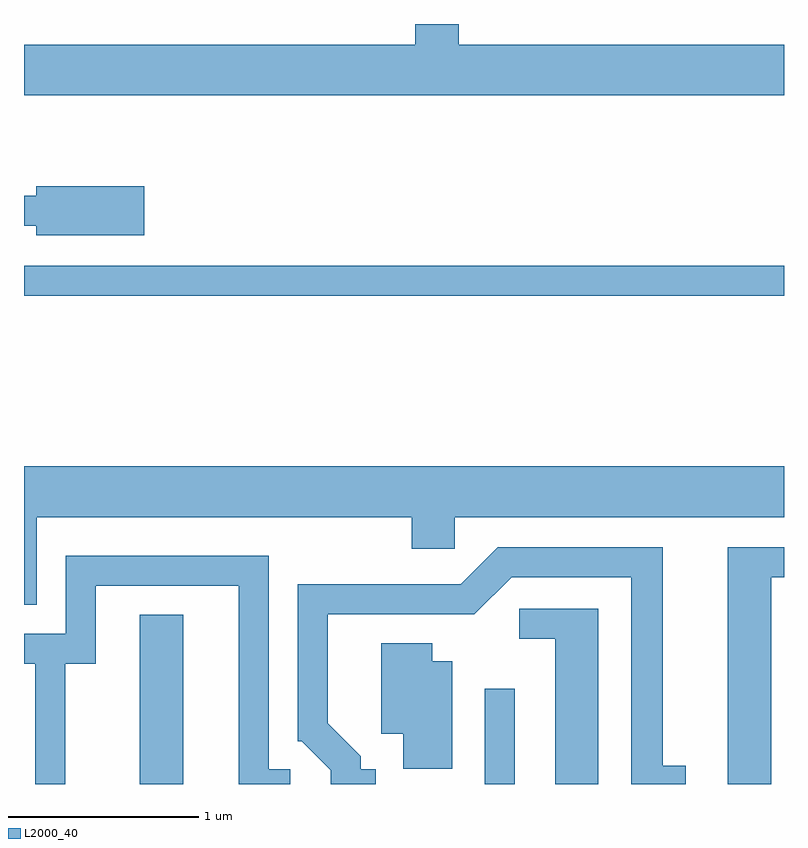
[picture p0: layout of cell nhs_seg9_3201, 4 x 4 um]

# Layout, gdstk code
import gdstk
lib = gdstk.Library(unit=1e-6, precision=1e-09)
def R(c, l, rs):  # rectangles x0, y0, x1, y1
    for r in rs: c.add(gdstk.rectangle(r[:2], r[2:], *l))
def P(c, l, *ps):  # polygons
    for p in ps: c.add(gdstk.Polygon(p, *l))
L2000_40 = (2000, 40)

nhs_seg9_3201 = lib.new_cell('nhs_seg9_3201')
R(nhs_seg9_3201, L2000_40, [(280.221,1970.432,280.449,1971.324), (282.036,1970.432,282.194,1970.933), (279.611,1973.001,283.611,1973.159)])
P(nhs_seg9_3201, L2000_40, [(283.611,1974.324),(281.899,1974.324),(281.899,1974.432),(281.671,1974.432),(281.671,1974.324),(279.611,1974.324),(279.611,1974.056),(283.611,1974.056)],
  [(280.244,1973.579),(279.676,1973.579),(279.676,1973.529),(279.611,1973.529),(279.611,1973.371),(279.676,1973.371),(279.676,1973.321),(280.244,1973.321)],
  [(279.679,1971.836),(281.651,1971.836),(281.651,1971.671),(281.879,1971.671),(281.879,1971.836),(283.611,1971.836),(283.611,1972.104),(279.611,1972.104),(279.611,1971.376),(279.679,1971.376)],
  [(283.544,1971.521),(283.611,1971.521),(283.611,1971.679),(283.316,1971.679),(283.316,1970.432),(283.544,1970.432)],
  [(281.463,1970.509),(281.384,1970.509),(281.384,1970.577),(281.209,1970.752),(281.209,1971.326),(281.982,1971.326),(282.177,1971.521),(282.806,1971.521),(282.806,1970.432),(283.093,1970.432),(283.093,1970.529),(282.974,1970.529),(282.974,1971.679),(282.104,1971.679),(281.909,1971.484),(281.051,1971.484),(281.051,1970.656),(281.074,1970.656),(281.226,1970.504),(281.226,1970.432),(281.463,1970.432)],
  [(279.829,1971.066),(279.989,1971.066),(279.989,1971.476),(280.741,1971.476),(280.741,1970.432),(281.013,1970.432),(281.013,1970.509),(280.899,1970.509),(280.899,1971.634),(279.831,1971.634),(279.831,1971.224),(279.611,1971.224),(279.611,1971.066),(279.671,1971.066),(279.671,1970.432),(279.829,1970.432)],
  [(282.634,1971.354),(282.218,1971.354),(282.218,1971.196),(282.406,1971.196),(282.406,1970.432),(282.634,1970.432)],
  [(281.864,1971.079),(281.759,1971.079),(281.759,1971.174),(281.491,1971.174),(281.491,1970.696),(281.606,1970.696),(281.606,1970.511),(281.864,1970.511)])

lib.write_gds('nhs_seg9_3201.gds')
